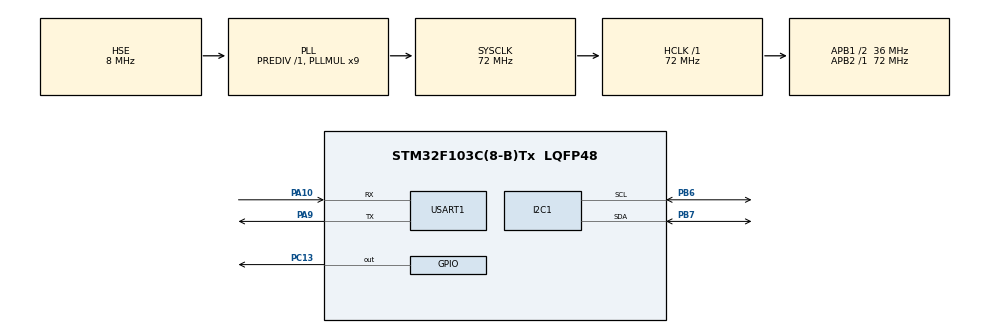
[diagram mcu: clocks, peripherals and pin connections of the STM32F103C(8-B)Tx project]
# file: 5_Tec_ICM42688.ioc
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Dma.Request0=USART1_TX
Dma.USART1_TX.0.Direction=DMA_MEMORY_TO_PERIPH
Dma.USART1_TX.0.Instance=DMA1_Channel4
Dma.USART1_TX.0.MemDataAlignment=DMA_MDATAALIGN_BYTE
Dma.USART1_TX.0.MemInc=DMA_MINC_ENABLE
Dma.USART1_TX.0.Mode=DMA_NORMAL
Dma.USART1_TX.0.PeriphDataAlignment=DMA_PDATAALIGN_BYTE
Dma.USART1_TX.0.PeriphInc=DMA_PINC_DISABLE
Dma.USART1_TX.0.Priority=DMA_PRIORITY_LOW
I2C1.I2C_Mode=I2C_Fast
Mcu.Family=STM32F1
Mcu.Name=STM32F103C(8-B)Tx
Mcu.Package=LQFP48
NVIC.DMA1_Channel4_IRQn=true\:0\:0\:false\:false\:true\:false\:true\:true
NVIC.PriorityGroup=NVIC_PRIORITYGROUP_4
NVIC.USART1_IRQn=true\:0\:0\:false\:false\:true\:false\:true\:true
PA10.Mode=Asynchronous
PA10.Signal=USART1_RX
PA13.Mode=Serial_Wire
PA13.Signal=SYS_JTMS-SWDIO
PA14.Mode=Serial_Wire
PA14.Signal=SYS_JTCK-SWCLK
PA9.Mode=Asynchronous
PA9.Signal=USART1_TX
PB6.Mode=I2C
PB6.Signal=I2C1_SCL
PB7.Mode=I2C
PB7.Signal=I2C1_SDA
PC13-TAMPER-RTC.PinState=GPIO_PIN_SET
PC13-TAMPER-RTC.Signal=GPIO_Output
PD0-OSC_IN.Mode=HSE-External-Oscillator
PD0-OSC_IN.Signal=RCC_OSC_IN
PD1-OSC_OUT.Mode=HSE-External-Oscillator
PD1-OSC_OUT.Signal=RCC_OSC_OUT
ProjectManager.HeapSize=0x200
ProjectManager.StackSize=0x400
ProjectManager.TargetToolchain=MDK-ARM V5.32
RCC.AHBFreq_Value=72000000
RCC.APB1CLKDivider=RCC_HCLK_DIV2
RCC.APB1Freq_Value=36000000
RCC.APB1TimFreq_Value=72000000
RCC.APB2Freq_Value=72000000
RCC.APB2TimFreq_Value=72000000
RCC.EnbaleCSS=true
RCC.HCLKFreq_Value=72000000
RCC.PLLMUL=RCC_PLL_MUL9
RCC.PLLSourceVirtual=RCC_PLLSOURCE_HSE
RCC.SYSCLKFreq_VALUE=72000000
RCC.SYSCLKSource=RCC_SYSCLKSOURCE_PLLCLK
RCC.USBFreq_Value=72000000
USART1.VirtualMode=VM_ASYNC
board=custom

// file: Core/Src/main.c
/* USER CODE BEGIN Header */
/**
  ******************************************************************************
  * @file           : main.c
  * @brief          : Main program body
  ******************************************************************************
  * @attention
  *
  * Copyright (c) 2025 STMicroelectronics.
  * All rights reserved.
  *
  * This software is licensed under terms that can be found in the LICENSE file
  * in the root directory of this software component.
  * If no LICENSE file comes with this software, it is provided AS-IS.
  *
  ******************************************************************************
  */
/* USER CODE END Header */
#include "main.h"
#include "i2c.h"
#include "usart.h"
#include "gpio.h"

/* USER CODE BEGIN Includes */

#include "stdio.h"
#include "string.h"

/* USER CODE END Includes */

/* USER CODE BEGIN PD */

#define ICM42688_ADDR       (0x68 << 1)   // HAL I2C地址左移1位
#define REG_WHO_AM_I        0x75
#define REG_PWR_MGMT0       0x4E
#define REG_ACCEL_DATA_X1   0x1F
#define REG_GYRO_DATA_X1    0x25

#define LED_ON()   HAL_GPIO_WritePin(GPIOC, GPIO_PIN_13, GPIO_PIN_RESET)
#define LED_OFF()  HAL_GPIO_WritePin(GPIOC, GPIO_PIN_13, GPIO_PIN_SET)

/* USER CODE END PD */

/* USER CODE BEGIN PV */

uint8_t whoami = 0;
uint8_t buf[6];          // 读加速度或陀螺仪数据
// char uart_buf[64];
uint8_t tx_buf[64];

/* USER CODE END PV */

void SystemClock_Config(void);
/* USER CODE BEGIN PFP */

void UART_SendText(char *msg);

void ICM42688_Init(void);
void ICM42688_ReadData(void);

/* USER CODE END PFP */

int main(void)
{

  /* MCU Configuration--------------------------------------------------------*/

  /* Reset of all peripherals, Initializes the Flash interface and the Systick. */
  HAL_Init();

  /* Configure the system clock */
  SystemClock_Config();

  /* Initialize all configured peripherals */
  MX_GPIO_Init();
  MX_I2C1_Init();
  MX_USART1_UART_Init();
  /* USER CODE BEGIN 2 */

  LED_OFF();
  ICM42688_Init();

  HAL_Delay(100);  // 等待ICM42688上电稳定

  /* USER CODE END 2 */

  /* Infinite loop */
  /* USER CODE BEGIN WHILE */
  while (1)
  {
        LED_ON();
        ICM42688_ReadData();
        HAL_Delay(50);
        LED_OFF();
        HAL_Delay(50);
    /* USER CODE END WHILE */

  }
}

void SystemClock_Config(void)
{
  RCC_OscInitTypeDef RCC_OscInitStruct = {0};
  RCC_ClkInitTypeDef RCC_ClkInitStruct = {0};

  /** Initializes the RCC Oscillators according to the specified parameters
  * in the RCC_OscInitTypeDef structure.
  */
  RCC_OscInitStruct.OscillatorType = RCC_OSCILLATORTYPE_HSE;
  RCC_OscInitStruct.HSEState = RCC_HSE_ON;
  RCC_OscInitStruct.HSEPredivValue = RCC_HSE_PREDIV_DIV1;
  RCC_OscInitStruct.HSIState = RCC_HSI_ON;
  RCC_OscInitStruct.PLL.PLLState = RCC_PLL_ON;
  RCC_OscInitStruct.PLL.PLLSource = RCC_PLLSOURCE_HSE;
  RCC_OscInitStruct.PLL.PLLMUL = RCC_PLL_MUL9;
  if (HAL_RCC_OscConfig(&RCC_OscInitStruct) != HAL_OK)
  {
    Error_Handler();
  }

  /** Initializes the CPU, AHB and APB buses clocks
  */
  RCC_ClkInitStruct.ClockType = RCC_CLOCKTYPE_HCLK|RCC_CLOCKTYPE_SYSCLK
                              |RCC_CLOCKTYPE_PCLK1|RCC_CLOCKTYPE_PCLK2;
  RCC_ClkInitStruct.SYSCLKSource = RCC_SYSCLKSOURCE_PLLCLK;
  RCC_ClkInitStruct.AHBCLKDivider = RCC_SYSCLK_DIV1;
  RCC_ClkInitStruct.APB1CLKDivider = RCC_HCLK_DIV2;
  RCC_ClkInitStruct.APB2CLKDivider = RCC_HCLK_DIV1;

  if (HAL_RCC_ClockConfig(&RCC_ClkInitStruct, FLASH_LATENCY_2) != HAL_OK)
  {
    Error_Handler();
  }

  /** Enables the Clock Security System
  */
  HAL_RCC_EnableCSS();
}

/* USER CODE BEGIN 4 */

void UART_SendText(char *msg)
{
    HAL_UART_Transmit(&huart1, (uint8_t*)msg, strlen(msg), HAL_MAX_DELAY);
}

void ICM42688_Init(void)
{
    uint8_t data;

    // 读取 WHO_AM_I 寄存器
    if(HAL_I2C_Mem_Read(&hi2c1, ICM42688_ADDR, REG_WHO_AM_I, I2C_MEMADD_SIZE_8BIT, &whoami, 1, 100) == HAL_OK)
    {
        sprintf((char*)tx_buf, "WHO_AM_I = 0x%02X\r\n", whoami);
        UART_SendText((char*)tx_buf);
        if (whoami != 0x47)
        {
            UART_SendText("ICM42688 not detected!\r\n");
            return;
        }
    }
    else
    {
        UART_SendText("I2C communication failed!\r\n");
        return;
    }

    // 解除休眠，启动加速度计和陀螺仪
    data = 0x0F;
    HAL_I2C_Mem_Write(&hi2c1, ICM42688_ADDR, REG_PWR_MGMT0, I2C_MEMADD_SIZE_8BIT, &data, 1, 100);
    HAL_Delay(10);

    UART_SendText("ICM42688 Init OK\r\n");
}

void ICM42688_ReadData(void)
{
    // 读取加速度计数据
    HAL_I2C_Mem_Read(&hi2c1, ICM42688_ADDR, REG_ACCEL_DATA_X1, I2C_MEMADD_SIZE_8BIT, buf, 6, 100);
    int16_t ax = (int16_t)(buf[0]<<8 | buf[1]);
    int16_t ay = (int16_t)(buf[2]<<8 | buf[3]);
    int16_t az = (int16_t)(buf[4]<<8 | buf[5]);

    // 读取陀螺仪数据
    HAL_I2C_Mem_Read(&hi2c1, ICM42688_ADDR, REG_GYRO_DATA_X1, I2C_MEMADD_SIZE_8BIT, buf, 6, 100);
    int16_t gx = (int16_t)(buf[0]<<8 | buf[1]);
    int16_t gy = (int16_t)(buf[2]<<8 | buf[3]);
    int16_t gz = (int16_t)(buf[4]<<8 | buf[5]);

    sprintf((char*)tx_buf, "%6d,%6d,%6d,%6d,%6d,%6d\r\n",
            ax, ay, az, gx, gy, gz);
    UART_SendText((char*)tx_buf);
}

/* USER CODE END 4 */

void Error_Handler(void)
{
  __disable_irq();
  while (1)
  {
  }
}
